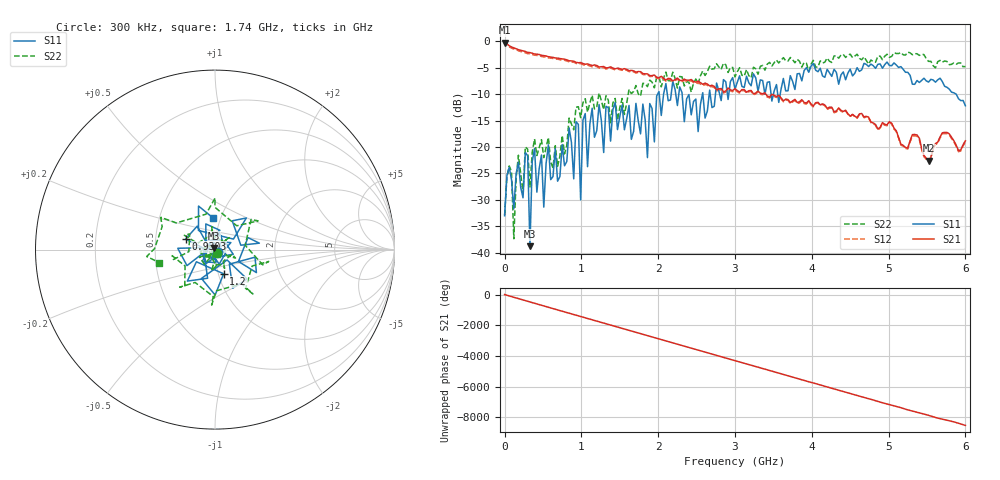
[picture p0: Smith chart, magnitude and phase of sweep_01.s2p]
! 2-port S-parameters written by miniscope-char acquisition
! instrument: Pico Technology Ltd,PicoVNA-106,10080,5.3.4
! transport: scpi
! endpoint: 127.0.0.1:5025
! demo: false
! calibration: software
# HZ S RI R 50
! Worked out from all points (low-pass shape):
!   201 points, 300 kHz to 6 GHz, reference 50 ohm
!   highest |S21| = -0.23 dB at 300 kHz (marker M1); lowest = -22.6 dB at 5.52 GHz (marker M2)
!   |S21| within 3 dB of the highest: start of sweep to 718.7 MHz
!   lowest |S11| = -38.8 dB at 330.3 MHz (marker M3), VSWR 1.02, Z = 49.3 + j0.871 ohm
!   |S11| at or under -10 dB: start of sweep to 1.992 GHz; 2.312 GHz to 2.576 GHz (264.1 MHz wide, 10.8 % of centre); 5.881 GHz to end of sweep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
!   |S22| runs from -37.4 to -2.0 dB; largest |S21 - S12| = 0.064
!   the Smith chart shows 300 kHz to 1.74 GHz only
!   S11 on the Smith chart (normalised r, x): 300 kHz: 1.04, -0.02; 930.3 MHz: 0.71, +0.09; 1.2 GHz: 1.06, -0.29; 1.74 GHz: 0.92, +0.34
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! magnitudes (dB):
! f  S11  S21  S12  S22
! 300 kHz  -33.0  -0.2  0.2  -32.9
! 90.3 MHz  -26.2  -1.0  -1.3  -24.6
! 120.3 MHz  -31.7  -1.2  -1.4  -37.4
! 180.3 MHz  -22.9  -1.5  -1.8  -21.6
! 270.3 MHz  -21.0  -1.9  -2.1  -20.0
! 330.3 MHz  -38.8  -2.1  -2.3  -27.6
! 390.3 MHz  -20.3  -2.4  -2.6  -18.5
! 510.3 MHz  -31.4  -2.7  -2.9  -22.0
! 570.3 MHz  -19.6  -2.9  -3.1  -18.2
! 900.3 MHz  -26.0  -3.7  -3.9  -16.7
! 930.3 MHz  -15.2  -3.9  -4.2  -12.5
! 990.3 MHz  -30.0  -4.0  -4.2  -14.4
! 1.02 GHz  -14.9  -4.2  -4.4  -11.6
! 1.2 GHz  -16.9  -4.5  -4.8  -12.3
! 1.74 GHz  -15.0  -5.7  -5.9  -9.9
! 1.86 GHz  -22.0  -6.1  -6.3  -8.6
! 2.01 GHz  -9.5  -6.9  -7.0  -6.6
! 3 GHz  -9.0  -8.9  -9.1  -6.7
! 4.02 GHz  -4.2  -12.2  -12.4  -3.6
! 5.01 GHz  -4.5  -15.2  -15.3  -3.0
! 5.52 GHz  -7.7  -22.6  -22.8  -3.8
! 6 GHz  -12.2  -18.8  -19.0  -4.7
